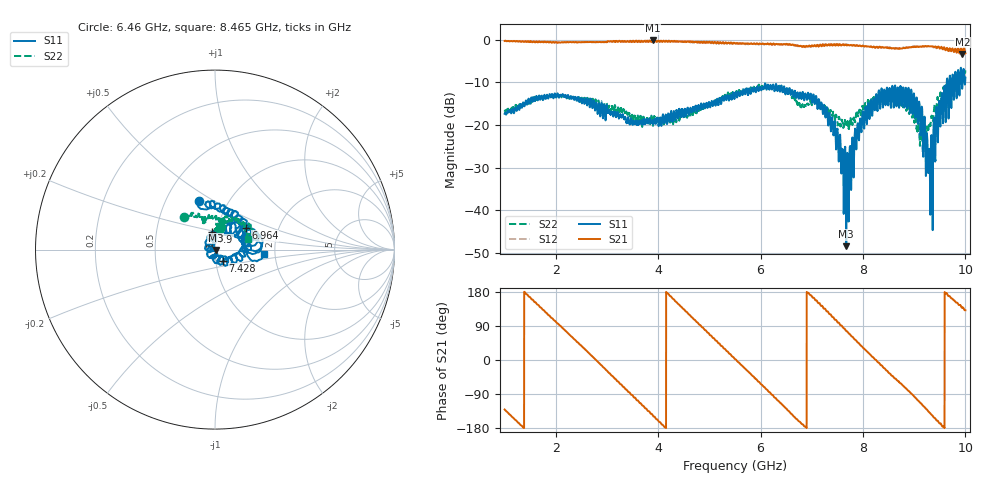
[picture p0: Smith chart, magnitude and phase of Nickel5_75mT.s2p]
#  HZ  S  RI  R  50.0
! Rohde & Schwarz ZVL13 2Ports - Version 3.31 - 1303.6509k13 SN: 101088
! Date: 2023-03-09 14:12:20
! Data & Calibration Information:
! Trc4:S11(TOSM) Trc2:S21(TOSM) Trc3:S12(TOSM) Trc5:S22(TOSM)
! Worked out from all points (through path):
!   4000 points, 1 GHz to 10 GHz, reference 50 ohm
!   highest |S21| = -0.14 dB at 3.892 GHz (marker M1); lowest = -3.3 dB at 9.941 GHz (marker M2)
!   group delay of S21, straight-line fit = 365 ps
!   lowest |S11| = -48.5 dB at 7.673 GHz (marker M3), VSWR 1.01, Z = 50.3 - j0.17 ohm
!   |S11| at or under -10 dB: start of sweep to 9.636 GHz; 9.652786 GHz to 9.687485 GHz (34.7 MHz wide, 0.359 % of centre); 9.70967 GHz to 9.74002 GHz (30.35 MHz wide, 0.312 % of centre)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
!   |S22| runs from -26.4 to -7.2 dB; largest |S21 - S12| = 0.074
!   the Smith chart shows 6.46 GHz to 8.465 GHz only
!   S11 on the Smith chart (normalised r, x): 6.46 GHz: 0.73, +0.43; 6.964 GHz: 1.36, +0.35; 7.428 GHz: 1.08, -0.14; 7.9 GHz: 0.95, +0.19; 8.465 GHz: 1.74, -0.10
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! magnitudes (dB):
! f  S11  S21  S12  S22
! 1 GHz  -17.4  -0.3  -0.2  -16.8
! 1.695 GHz  -14.1  -0.6  -0.4  -13.7
! 2.501 GHz  -14.5  -0.5  -0.6  -13.7
! 3.892 GHz  -19.2  -0.1  -0.2  -19.3
! 4 GHz  -19.4  -0.2  -0.2  -19.4
! 5.501 GHz  -13.2  -0.8  -0.9  -12.5
! 6.46 GHz  -10.9  -1.0  -1.0  -12.0
! 6.964 GHz  -13.6  -1.5  -1.5  -14.5
! 7 GHz  -14.4  -1.3  -1.4  -15.3
! 7.428 GHz  -22.3  -1.0  -1.1  -17.2
! 7.673 GHz  -48.5  -1.2  -1.0  -20.3
! 7.9 GHz  -20.0  -1.4  -1.4  -17.8
! 8.128 GHz  -18.5  -1.6  -1.6  -15.6
! 8.465 GHz  -11.3  -1.9  -1.7  -14.2
! 8.501 GHz  -14.3  -1.9  -2.0  -13.3
! 9.019 GHz  -17.9  -1.6  -1.6  -19.0
! 9.197 GHz  -18.3  -1.6  -1.5  -20.4
! 9.318 GHz  -32.2  -1.5  -1.6  -20.1
! 9.413 GHz  -28.5  -1.5  -1.7  -16.0
! 9.561 GHz  -19.3  -2.2  -2.0  -11.8
! 9.941 GHz  -11.1  -3.3  -2.6  -7.9
! 10 GHz  -8.9  -3.1  -2.6  -7.2
